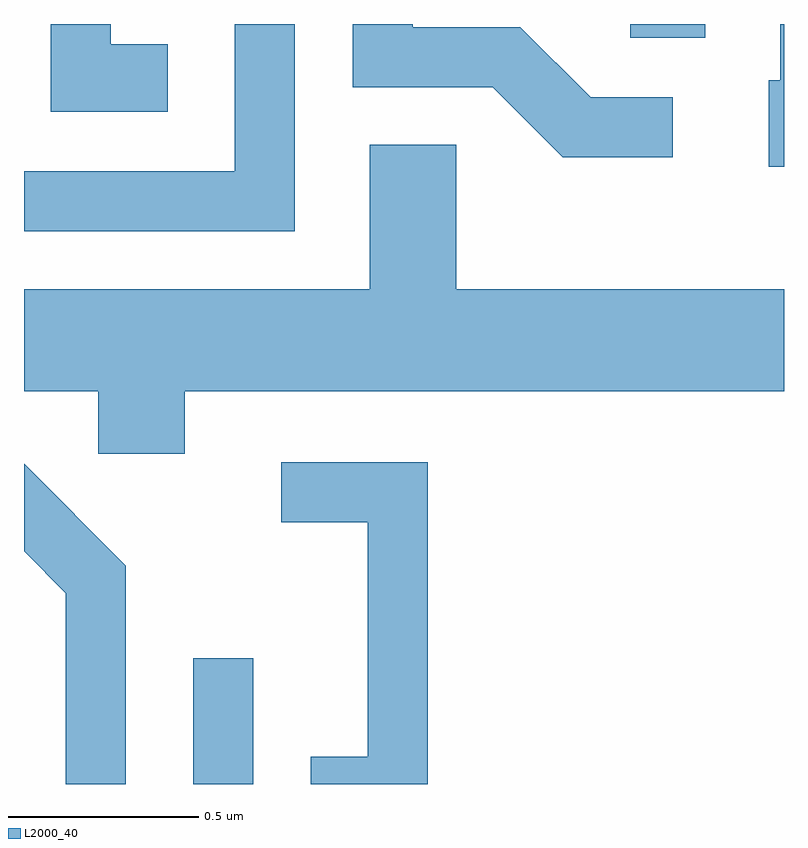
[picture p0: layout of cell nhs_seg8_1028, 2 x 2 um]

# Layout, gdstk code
import gdstk
lib = gdstk.Library(unit=1e-6, precision=1e-09)
def R(c, l, rs):  # rectangles x0, y0, x1, y1
    for r in rs: c.add(gdstk.rectangle(r[:2], r[2:], *l))
def P(c, l, *ps):  # polygons
    for p in ps: c.add(gdstk.Polygon(p, *l))
L2000_40 = (2000, 40)

nhs_seg8_1028 = lib.new_cell('nhs_seg8_1028')
R(nhs_seg8_1028, L2000_40, [(193.056,1875.342,193.214,1875.673), (194.206,1877.306,194.404,1877.342)])
P(nhs_seg8_1028, L2000_40, [(194.318,1877.149),(194.102,1877.149),(193.917,1877.334),(193.634,1877.334),(193.634,1877.342),(193.476,1877.342),(193.476,1877.176),(193.844,1877.176),(194.029,1876.991),(194.318,1876.991)],
  [(192.989,1877.289),(192.839,1877.289),(192.839,1877.342),(192.681,1877.342),(192.681,1877.111),(192.989,1877.111)],
  [(193.324,1877.342),(193.166,1877.342),(193.166,1876.954),(192.611,1876.954),(192.611,1876.796),(193.324,1876.796)],
  [(194.611,1877.342),(194.601,1877.342),(194.601,1877.194),(194.571,1877.194),(194.571,1876.966),(194.611,1876.966)],
  [(193.034,1876.376),(194.611,1876.376),(194.611,1876.644),(193.749,1876.644),(193.749,1877.024),(193.521,1877.024),(193.521,1876.644),(192.611,1876.644),(192.611,1876.376),(192.806,1876.376),(192.806,1876.211),(193.034,1876.211)],
  [(193.674,1876.189),(193.288,1876.189),(193.288,1876.031),(193.516,1876.031),(193.516,1875.414),(193.366,1875.414),(193.366,1875.342),(193.674,1875.342)],
  [(192.879,1875.917),(192.611,1876.185),(192.611,1875.954),(192.721,1875.844),(192.721,1875.342),(192.879,1875.342)])

lib.write_gds('nhs_seg8_1028.gds')
